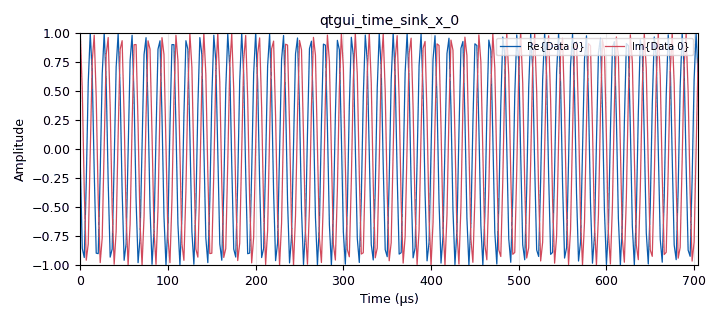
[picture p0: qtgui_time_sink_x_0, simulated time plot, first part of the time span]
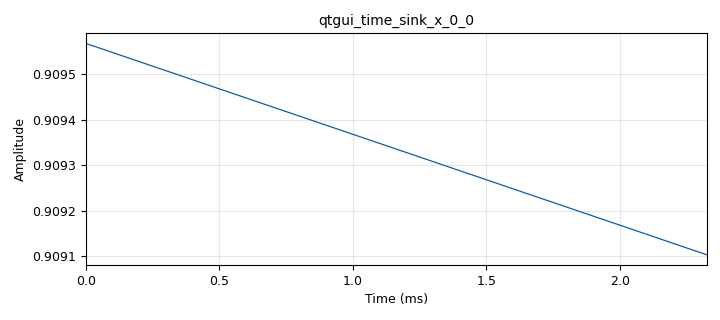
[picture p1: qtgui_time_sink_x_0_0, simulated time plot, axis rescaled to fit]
<?xml version='1.0' encoding='utf-8'?>
<?grc format='1' created='3.7.10'?>
<flow_graph>
<block>
<key>options</key>
<param><key>id</key><value>top_block</value></param>
<param><key>generate_options</key><value>qt_gui</value></param>
</block>
<block>
<key>variable</key>
<param><key>id</key><value>samp_rate</value></param>
<param><key>value</key><value>440e3</value></param>
</block>
<block>
<key>analog_frequency_modulator_fc</key>
<param><key>id</key><value>analog_frequency_modulator_fc_0</value></param>
<param><key>sensitivity</key><value>1</value></param>
</block>
<block>
<key>analog_sig_source_x</key>
<param><key>id</key><value>analog_sig_source_x_0</value></param>
<param><key>amp</key><value>1</value></param>
<param><key>freq</key><value>0.1</value></param>
<param><key>offset</key><value>0</value></param>
<param><key>type</key><value>float</value></param>
<param><key>samp_rate</key><value>samp_rate</value></param>
<param><key>waveform</key><value>analog.GR_TRI_WAVE</value></param>
</block>
<block>
<key>blocks_throttle</key>
<param><key>id</key><value>blocks_throttle_0</value></param>
<param><key>samples_per_second</key><value>samp_rate</value></param>
<param><key>type</key><value>float</value></param>
</block>
<block>
<key>qtgui_time_sink_x</key>
<param><key>id</key><value>qtgui_time_sink_x_0</value></param>
<param><key>color1</key><value>"blue"</value></param>
<param><key>label1</key><value></value></param>
<param><key>color2</key><value>"red"</value></param>
<param><key>label2</key><value></value></param>
<param><key>size</key><value>1024</value></param>
<param><key>srate</key><value>samp_rate</value></param>
<param><key>type</key><value>complex</value></param>
</block>
<block>
<key>qtgui_time_sink_x</key>
<param><key>id</key><value>qtgui_time_sink_x_0_0</value></param>
<param><key>color1</key><value>"blue"</value></param>
<param><key>label1</key><value></value></param>
<param><key>size</key><value>1024</value></param>
<param><key>srate</key><value>samp_rate</value></param>
<param><key>type</key><value>float</value></param>
</block>
<connection><source_block_id>analog_frequency_modulator_fc_0</source_block_id><sink_block_id>qtgui_time_sink_x_0</sink_block_id><source_key>0</source_key><sink_key>0</sink_key></connection>
<connection><source_block_id>analog_sig_source_x_0</source_block_id><sink_block_id>blocks_throttle_0</sink_block_id><source_key>0</source_key><sink_key>0</sink_key></connection>
<connection><source_block_id>analog_sig_source_x_0</source_block_id><sink_block_id>qtgui_time_sink_x_0_0</sink_block_id><source_key>0</source_key><sink_key>0</sink_key></connection>
<connection><source_block_id>blocks_throttle_0</source_block_id><sink_block_id>analog_frequency_modulator_fc_0</sink_block_id><source_key>0</source_key><sink_key>0</sink_key></connection>
</flow_graph>
